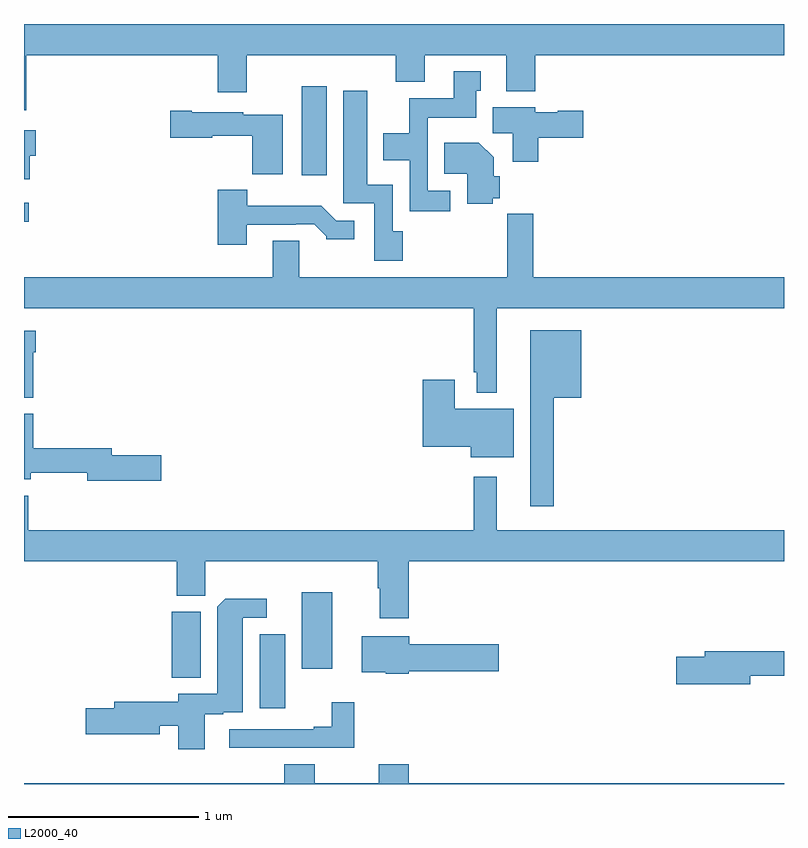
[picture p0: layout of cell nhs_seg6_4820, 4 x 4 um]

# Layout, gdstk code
import gdstk
lib = gdstk.Library(unit=1e-6, precision=1e-09)
def R(c, l, rs):  # rectangles x0, y0, x1, y1
    for r in rs: c.add(gdstk.rectangle(r[:2], r[2:], *l))
def P(c, l, *ps):  # polygons
    for p in ps: c.add(gdstk.Polygon(p, *l))
L2000_40 = (2000, 40)

nhs_seg6_4820 = lib.new_cell('nhs_seg6_4820')
R(nhs_seg6_4820, L2000_40, [(398.24,943.898,398.374,944.287), (397.778,944.059,397.93,944.406), (398.462,944.106,398.623,944.509), (397,946.459,397.024,946.56), (398.462,946.704,398.593,947.173)])
P(nhs_seg6_4820, L2000_40, [(397.013,947.336),(398.021,947.336),(398.021,947.142),(398.173,947.142),(398.173,947.336),(398.957,947.336),(398.957,947.195),(399.109,947.195),(399.109,947.336),(399.539,947.336),(399.539,947.147),(399.692,947.147),(399.692,947.336),(401,947.336),(401,947.5),(397,947.5),(397,947.046),(397.013,947.046)],
  [(399.244,946.623),(399.126,946.623),(399.126,947.006),(399.379,947.006),(399.379,947.148),(399.403,947.148),(399.403,947.251),(399.263,947.251),(399.263,947.11),(399.028,947.11),(399.028,946.924),(398.891,946.924),(398.891,946.784),(399.03,946.784),(399.03,946.515),(399.244,946.515)],
  [(398.993,946.41),(398.94,946.41),(398.94,946.654),(398.806,946.654),(398.806,947.149),(398.681,947.149),(398.681,946.557),(398.844,946.557),(398.844,946.254),(398.993,946.254)],
  [(399.707,946.901),(399.943,946.901),(399.943,947.043),(399.81,947.043),(399.81,947.035),(399.69,947.035),(399.69,947.062),(399.467,947.062),(399.467,946.924),(399.572,946.924),(399.572,946.776),(399.707,946.776)],
  [(398.362,947.023),(398.154,947.023),(398.154,947.035),(397.882,947.035),(397.882,947.043),(397.77,947.043),(397.77,946.901),(397.992,946.901),(397.992,946.913),(398.2,946.913),(398.2,946.709),(398.362,946.709)],
  [(397.03,946.806),(397.061,946.806),(397.061,946.942),(397,946.942),(397,946.682),(397.03,946.682)],
  [(399.468,946.584),(399.503,946.584),(399.503,946.698),(399.472,946.698),(399.472,946.798),(399.394,946.876),(399.211,946.876),(399.211,946.712),(399.332,946.712),(399.332,946.555),(399.468,946.555)],
  [(398.173,946.443),(398.429,946.443),(398.429,946.446),(398.528,946.446),(398.592,946.382),(398.592,946.367),(398.737,946.367),(398.737,946.464),(398.643,946.464),(398.565,946.543),(398.176,946.543),(398.176,946.627),(398.021,946.627),(398.021,946.338),(398.173,946.338)],
  [(399.487,946.004),(401,946.004),(401,946.168),(399.68,946.168),(399.68,946.501),(399.544,946.501),(399.544,946.168),(398.449,946.168),(398.449,946.358),(398.309,946.358),(398.309,946.168),(397,946.168),(397,946.004),(399.366,946.004),(399.366,945.667),(399.383,945.667),(399.383,945.56),(399.487,945.56)],
  [(399.787,945.533),(399.934,945.533),(399.934,945.889),(399.665,945.889),(399.665,944.961),(399.787,944.961)],
  [(397.048,945.773),(397.061,945.773),(397.061,945.886),(397,945.886),(397,945.534),(397.048,945.534)],
  [(399.577,945.475),(399.268,945.475),(399.268,945.628),(399.098,945.628),(399.098,945.275),(399.35,945.275),(399.35,945.221),(399.577,945.221)],
  [(397.723,945.23),(397.462,945.23),(397.462,945.266),(397.049,945.266),(397.049,945.449),(397,945.449),(397,945.103),(397.036,945.103),(397.036,945.138),(397.334,945.138),(397.334,945.095),(397.723,945.095)],
  [(399.026,944.672),(401,944.672),(401,944.836),(399.487,944.836),(399.487,945.118),(399.366,945.118),(399.366,944.836),(397.022,944.836),(397.022,945.018),(397,945.018),(397,944.672),(397.805,944.672),(397.805,944.491),(397.955,944.491),(397.955,944.672),(398.861,944.672),(398.861,944.531),(398.873,944.531),(398.873,944.373),(399.026,944.373)],
  [(397.951,943.866),(398.048,943.866),(398.048,943.878),(398.152,943.878),(398.152,944.376),(398.278,944.376),(398.278,944.474),(398.059,944.474),(398.018,944.432),(398.018,943.974),(397.811,943.974),(397.811,943.934),(397.475,943.934),(397.475,943.898),(397.326,943.898),(397.326,943.763),(397.714,943.763),(397.714,943.806),(397.811,943.806),(397.811,943.683),(397.951,943.683)],
  [(399.024,944.093),(399.499,944.093),(399.499,944.235),(399.028,944.235),(399.028,944.278),(398.777,944.278),(398.777,944.087),(398.903,944.087),(398.903,944.08),(399.024,944.08)],
  [(400.822,944.071),(401,944.071),(401,944.2),(400.583,944.2),(400.583,944.171),(400.434,944.171),(400.434,944.024),(400.822,944.024)],
  [(398.738,943.93),(398.62,943.93),(398.62,943.801),(398.525,943.801),(398.525,943.788),(398.079,943.788),(398.079,943.692),(398.738,943.692)],
  [(401,943.504),(399.026,943.504),(399.026,943.603),(398.866,943.603),(398.866,943.504),(398.529,943.504),(398.529,943.603),(398.369,943.603),(398.369,943.504),(397,943.504),(397,943.5),(401,943.5)])

lib.write_gds('nhs_seg6_4820.gds')
